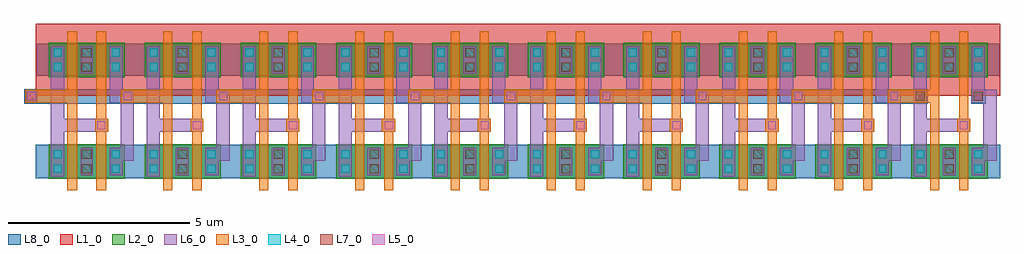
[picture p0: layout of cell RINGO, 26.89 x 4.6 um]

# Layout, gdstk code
import gdstk
lib = gdstk.Library(unit=1e-6, precision=1e-09)
def R(c, l, rs):  # rectangles x0, y0, x1, y1
    for r in rs: c.add(gdstk.rectangle(r[:2], r[2:], *l))
def P(c, l, *ps):  # polygons
    for p in ps: c.add(gdstk.Polygon(p, *l))
L1_0 = (1, 0)
L2_0 = (2, 0)
L3_0 = (3, 0)
L4_0 = (4, 0)
L5_0 = (5, 0)
L6_0 = (6, 0)
L7_0 = (7, 0)
L8_0 = (8, 0)

trans_var1 = lib.new_cell('TRANS$VAR1')
R(trans_var1, L2_0, [(-0.657,-0.475,0.654,0.475)])
R(trans_var1, L3_0, [(-0.125,-0.798,0.122,0.798)])
R(trans_var1, L4_0, [(-0.505,-0.304,-0.296,-0.095), (0.293,-0.304,0.502,-0.095), (-0.505,0.095,-0.296,0.304), (0.293,0.095,0.502,0.304)])
R(trans_var1, L6_0, [(-0.581,-0.38,-0.22,0.38), (0.217,-0.38,0.578,0.38)])

trans_var19 = lib.new_cell('TRANS$VAR19')
R(trans_var19, L2_0, [(-0.655,-0.475,0.656,0.475)])
R(trans_var19, L3_0, [(-0.123,-0.798,0.124,0.798)])
R(trans_var19, L4_0, [(-0.503,-0.304,-0.294,-0.095), (0.295,-0.304,0.504,-0.095), (-0.503,0.095,-0.294,0.304), (0.295,0.095,0.504,0.304)])
R(trans_var19, L6_0, [(-0.579,-0.38,-0.218,0.38), (0.219,-0.38,0.58,0.38)])

trans_var21 = lib.new_cell('TRANS$VAR21')
R(trans_var21, L2_0, [(-0.657,-0.468,0.654,0.482)])
R(trans_var21, L3_0, [(-0.125,-0.791,0.122,0.805)])
R(trans_var21, L4_0, [(-0.505,-0.316,-0.296,-0.088), (0.293,-0.316,0.502,-0.088), (-0.505,0.083,-0.296,0.311), (0.293,0.083,0.502,0.311)])
R(trans_var21, L6_0, [(-0.581,-0.373,-0.22,0.387), (0.217,-0.373,0.578,0.387)])

trans_var39 = lib.new_cell('TRANS$VAR39')
R(trans_var39, L2_0, [(-0.655,-0.482,0.656,0.468)])
R(trans_var39, L3_0, [(-0.123,-0.805,0.124,0.791)])
R(trans_var39, L4_0, [(-0.503,-0.311,-0.294,-0.083), (0.295,-0.311,0.504,-0.083), (-0.503,0.088,-0.294,0.316), (0.295,0.088,0.504,0.316)])
R(trans_var39, L6_0, [(-0.579,-0.387,-0.218,0.373), (0.219,-0.387,0.58,0.373)])

inv2_1 = lib.new_cell('INV2$1')
R(inv2_1, L1_0, [(-1.397,1.805,1.396,3.8)])
R(inv2_1, L3_0, [(-0.523,-0.247,-0.276,2.242), (0.275,-0.247,0.522,2.242), (0.218,0.817,0.579,1.178), (-1.701,1.615,-0.409,1.976)])
R(inv2_1, L5_0, [(0.294,0.893,0.503,1.102), (-1.625,1.691,-1.416,1.919)])
R(inv2_1, L6_0, [(-0.979,-0.418,-0.618,2.413), (-0.808,0.817,0.579,1.178)])
P(inv2_1, L6_0, [(0.807,0.019),(0.807,0.38),(0.94,0.38),(0.94,1.615),(0.617,1.615),(0.617,2.413),(0.978,2.413),(0.978,1.976),(1.301,1.976),(1.301,0.019)])
R(inv2_1, L7_0, [(-0.124,-0.323,0.123,-0.076), (-0.124,0.076,0.123,0.323), (-0.124,2.47,0.123,2.717), (-0.124,2.869,0.123,3.116)])
R(inv2_1, L8_0, [(-1.397,-0.456,1.396,0.456), (-1.397,2.356,1.396,3.249)])
inv2_1.add(gdstk.Reference(trans_var1, (0.4,0), x_reflection=True))
inv2_1.add(gdstk.Reference(trans_var19, (-0.4,0)))
inv2_1.add(gdstk.Reference(trans_var21, (0.4,2.8), x_reflection=True))
inv2_1.add(gdstk.Reference(trans_var39, (-0.4,2.8)))

trans_1 = lib.new_cell('TRANS$1')
R(trans_1, L2_0, [(-0.656,-0.475,0.655,0.475)])
R(trans_1, L3_0, [(-0.124,-0.798,0.123,0.798)])
R(trans_1, L4_0, [(-0.504,-0.304,-0.295,-0.095), (0.294,-0.304,0.503,-0.095), (-0.504,0.095,-0.295,0.304), (0.294,0.095,0.503,0.304)])
R(trans_1, L6_0, [(-0.58,-0.38,-0.219,0.38), (0.218,-0.38,0.579,0.38)])

trans_var3 = lib.new_cell('TRANS$VAR3')
R(trans_var3, L2_0, [(-0.658,-0.475,0.653,0.475)])
R(trans_var3, L3_0, [(-0.126,-0.798,0.121,0.798)])
R(trans_var3, L4_0, [(-0.506,-0.304,-0.297,-0.095), (0.292,-0.304,0.501,-0.095), (-0.506,0.095,-0.297,0.304), (0.292,0.095,0.501,0.304)])
R(trans_var3, L6_0, [(-0.582,-0.38,-0.221,0.38), (0.216,-0.38,0.577,0.38)])

trans_var20 = lib.new_cell('TRANS$VAR20')
R(trans_var20, L2_0, [(-0.656,-0.482,0.655,0.468)])
R(trans_var20, L3_0, [(-0.124,-0.805,0.123,0.791)])
R(trans_var20, L4_0, [(-0.504,-0.311,-0.295,-0.083), (0.294,-0.311,0.503,-0.083), (-0.504,0.088,-0.295,0.316), (0.294,0.088,0.503,0.316)])
R(trans_var20, L6_0, [(-0.58,-0.387,-0.219,0.373), (0.218,-0.387,0.579,0.373)])

trans_var23 = lib.new_cell('TRANS$VAR23')
R(trans_var23, L2_0, [(-0.658,-0.468,0.653,0.482)])
R(trans_var23, L3_0, [(-0.126,-0.791,0.121,0.805)])
R(trans_var23, L4_0, [(-0.506,-0.316,-0.297,-0.088), (0.292,-0.316,0.501,-0.088), (-0.506,0.083,-0.297,0.311), (0.292,0.083,0.501,0.311)])
R(trans_var23, L6_0, [(-0.582,-0.373,-0.221,0.387), (0.216,-0.373,0.577,0.387)])

inv2_var1 = lib.new_cell('INV2$VAR1')
R(inv2_var1, L1_0, [(-1.398,1.805,1.395,3.8)])
R(inv2_var1, L3_0, [(-0.524,-0.247,-0.277,2.242), (0.274,-0.247,0.521,2.242), (0.217,0.817,0.578,1.178), (-1.702,1.615,-0.391,1.976)])
R(inv2_var1, L5_0, [(0.293,0.893,0.502,1.102), (-1.626,1.691,-1.417,1.919)])
R(inv2_var1, L6_0, [(-0.98,-0.418,-0.619,2.413), (-0.809,0.817,0.578,1.178)])
P(inv2_var1, L6_0, [(0.806,0.019),(0.806,0.38),(0.939,0.38),(0.939,1.615),(0.616,1.615),(0.616,2.413),(0.977,2.413),(0.977,1.976),(1.3,1.976),(1.3,0.019)])
R(inv2_var1, L7_0, [(-0.125,-0.323,0.122,-0.076), (-0.125,0.076,0.122,0.323), (-0.125,2.47,0.122,2.717), (-0.125,2.869,0.122,3.116)])
R(inv2_var1, L8_0, [(-1.398,-0.456,1.395,0.456), (-1.398,2.356,1.395,3.249)])
inv2_var1.add(gdstk.Reference(trans_1, (-0.4,0)))
inv2_var1.add(gdstk.Reference(trans_var3, (0.4,0), x_reflection=True))
inv2_var1.add(gdstk.Reference(trans_var20, (-0.4,2.8)))
inv2_var1.add(gdstk.Reference(trans_var23, (0.4,2.8), x_reflection=True))

trans_var2 = lib.new_cell('TRANS$VAR2')
R(trans_var2, L2_0, [(-0.657,-0.475,0.654,0.475)])
R(trans_var2, L3_0, [(-0.125,-0.798,0.122,0.798)])
R(trans_var2, L4_0, [(-0.505,-0.304,-0.296,-0.095), (0.293,-0.304,0.502,-0.095), (-0.505,0.095,-0.296,0.304), (0.293,0.095,0.502,0.304)])
R(trans_var2, L6_0, [(-0.581,-0.38,-0.22,0.38), (0.217,-0.38,0.578,0.38)])

trans_var5 = lib.new_cell('TRANS$VAR5')
R(trans_var5, L2_0, [(-0.659,-0.475,0.652,0.475)])
R(trans_var5, L3_0, [(-0.127,-0.798,0.12,0.798)])
R(trans_var5, L4_0, [(-0.507,-0.304,-0.298,-0.095), (0.291,-0.304,0.519,-0.095), (-0.507,0.095,-0.298,0.304), (0.291,0.095,0.519,0.304)])
R(trans_var5, L6_0, [(-0.583,-0.38,-0.222,0.38), (0.215,-0.38,0.576,0.38)])

trans_var22 = lib.new_cell('TRANS$VAR22')
R(trans_var22, L2_0, [(-0.657,-0.482,0.654,0.468)])
R(trans_var22, L3_0, [(-0.125,-0.805,0.122,0.791)])
R(trans_var22, L4_0, [(-0.505,-0.311,-0.296,-0.083), (0.293,-0.311,0.502,-0.083), (-0.505,0.088,-0.296,0.316), (0.293,0.088,0.502,0.316)])
R(trans_var22, L6_0, [(-0.581,-0.387,-0.22,0.373), (0.217,-0.387,0.578,0.373)])

trans_var25 = lib.new_cell('TRANS$VAR25')
R(trans_var25, L2_0, [(-0.659,-0.468,0.652,0.482)])
R(trans_var25, L3_0, [(-0.127,-0.791,0.12,0.805)])
R(trans_var25, L4_0, [(-0.507,-0.316,-0.298,-0.088), (0.291,-0.316,0.519,-0.088), (-0.507,0.083,-0.298,0.311), (0.291,0.083,0.519,0.311)])
R(trans_var25, L6_0, [(-0.583,-0.373,-0.222,0.387), (0.215,-0.373,0.576,0.387)])

inv2_var2 = lib.new_cell('INV2$VAR2')
R(inv2_var2, L1_0, [(-1.399,1.805,1.394,3.8)])
R(inv2_var2, L3_0, [(-0.525,-0.247,-0.278,2.242), (0.273,-0.247,0.52,2.242), (0.216,0.817,0.577,1.178), (-1.703,1.615,-0.392,1.976)])
R(inv2_var2, L5_0, [(0.292,0.893,0.501,1.102), (-1.627,1.691,-1.418,1.919)])
R(inv2_var2, L6_0, [(-0.981,-0.418,-0.62,2.413), (-0.791,0.817,0.577,1.178)])
P(inv2_var2, L6_0, [(0.805,0.019),(0.805,0.38),(0.938,0.38),(0.938,1.615),(0.615,1.615),(0.615,2.413),(0.976,2.413),(0.976,1.976),(1.299,1.976),(1.299,0.019)])
R(inv2_var2, L7_0, [(-0.126,-0.323,0.121,-0.076), (-0.126,0.076,0.121,0.323), (-0.126,2.47,0.121,2.717), (-0.126,2.869,0.121,3.116)])
R(inv2_var2, L8_0, [(-1.399,-0.456,1.394,0.456), (-1.399,2.356,1.394,3.249)])
inv2_var2.add(gdstk.Reference(trans_var2, (-0.4,0)))
inv2_var2.add(gdstk.Reference(trans_var5, (0.4,0), x_reflection=True))
inv2_var2.add(gdstk.Reference(trans_var22, (-0.4,2.8)))
inv2_var2.add(gdstk.Reference(trans_var25, (0.4,2.8), x_reflection=True))

trans_var4 = lib.new_cell('TRANS$VAR4')
R(trans_var4, L2_0, [(-0.658,-0.475,0.653,0.475)])
R(trans_var4, L3_0, [(-0.126,-0.798,0.121,0.798)])
R(trans_var4, L4_0, [(-0.506,-0.304,-0.297,-0.095), (0.292,-0.304,0.501,-0.095), (-0.506,0.095,-0.297,0.304), (0.292,0.095,0.501,0.304)])
R(trans_var4, L6_0, [(-0.582,-0.38,-0.221,0.38), (0.216,-0.38,0.577,0.38)])

trans_var7 = lib.new_cell('TRANS$VAR7')
R(trans_var7, L2_0, [(-0.641,-0.475,0.651,0.475)])
R(trans_var7, L3_0, [(-0.128,-0.798,0.119,0.798)])
R(trans_var7, L4_0, [(-0.508,-0.304,-0.299,-0.095), (0.29,-0.304,0.518,-0.095), (-0.508,0.095,-0.299,0.304), (0.29,0.095,0.518,0.304)])
R(trans_var7, L6_0, [(-0.584,-0.38,-0.223,0.38), (0.214,-0.38,0.575,0.38)])

trans_var24 = lib.new_cell('TRANS$VAR24')
R(trans_var24, L2_0, [(-0.658,-0.482,0.653,0.468)])
R(trans_var24, L3_0, [(-0.126,-0.805,0.121,0.791)])
R(trans_var24, L4_0, [(-0.506,-0.311,-0.297,-0.083), (0.292,-0.311,0.501,-0.083), (-0.506,0.088,-0.297,0.316), (0.292,0.088,0.501,0.316)])
R(trans_var24, L6_0, [(-0.582,-0.387,-0.221,0.373), (0.216,-0.387,0.577,0.373)])

trans_var27 = lib.new_cell('TRANS$VAR27')
R(trans_var27, L2_0, [(-0.641,-0.468,0.651,0.482)])
R(trans_var27, L3_0, [(-0.128,-0.791,0.119,0.805)])
R(trans_var27, L4_0, [(-0.508,-0.316,-0.299,-0.088), (0.29,-0.316,0.518,-0.088), (-0.508,0.083,-0.299,0.311), (0.29,0.083,0.518,0.311)])
R(trans_var27, L6_0, [(-0.584,-0.373,-0.223,0.387), (0.214,-0.373,0.575,0.387)])

inv2_var3 = lib.new_cell('INV2$VAR3')
R(inv2_var3, L1_0, [(-1.4,1.805,1.393,3.8)])
R(inv2_var3, L3_0, [(-0.526,-0.247,-0.279,2.242), (0.272,-0.247,0.519,2.242), (0.215,0.817,0.576,1.178), (-1.704,1.615,-0.393,1.976)])
R(inv2_var3, L5_0, [(0.291,0.893,0.519,1.102), (-1.628,1.691,-1.419,1.919)])
R(inv2_var3, L6_0, [(-0.982,-0.418,-0.621,2.413), (-0.792,0.817,0.576,1.178)])
P(inv2_var3, L6_0, [(0.804,0.019),(0.804,0.38),(0.937,0.38),(0.937,1.615),(0.614,1.615),(0.614,2.413),(0.975,2.413),(0.975,1.976),(1.298,1.976),(1.298,0.019)])
R(inv2_var3, L7_0, [(-0.127,-0.323,0.12,-0.076), (-0.127,0.076,0.12,0.323), (-0.127,2.47,0.12,2.717), (-0.127,2.869,0.12,3.116)])
R(inv2_var3, L8_0, [(-1.4,-0.456,1.393,0.456), (-1.4,2.356,1.393,3.249)])
inv2_var3.add(gdstk.Reference(trans_var4, (-0.4,0)))
inv2_var3.add(gdstk.Reference(trans_var7, (0.4,0), x_reflection=True))
inv2_var3.add(gdstk.Reference(trans_var24, (-0.4,2.8)))
inv2_var3.add(gdstk.Reference(trans_var27, (0.4,2.8), x_reflection=True))

trans_var6 = lib.new_cell('TRANS$VAR6')
R(trans_var6, L2_0, [(-0.659,-0.475,0.652,0.475)])
R(trans_var6, L3_0, [(-0.127,-0.798,0.12,0.798)])
R(trans_var6, L4_0, [(-0.507,-0.304,-0.298,-0.095), (0.291,-0.304,0.519,-0.095), (-0.507,0.095,-0.298,0.304), (0.291,0.095,0.519,0.304)])
R(trans_var6, L6_0, [(-0.583,-0.38,-0.222,0.38), (0.215,-0.38,0.576,0.38)])

trans_var9 = lib.new_cell('TRANS$VAR9')
R(trans_var9, L2_0, [(-0.642,-0.475,0.65,0.475)])
R(trans_var9, L3_0, [(-0.129,-0.798,0.118,0.798)])
R(trans_var9, L4_0, [(-0.509,-0.304,-0.281,-0.095), (0.289,-0.304,0.517,-0.095), (-0.509,0.095,-0.281,0.304), (0.289,0.095,0.517,0.304)])
R(trans_var9, L6_0, [(-0.585,-0.38,-0.224,0.38), (0.213,-0.38,0.574,0.38)])

trans_var26 = lib.new_cell('TRANS$VAR26')
R(trans_var26, L2_0, [(-0.659,-0.482,0.652,0.468)])
R(trans_var26, L3_0, [(-0.127,-0.805,0.12,0.791)])
R(trans_var26, L4_0, [(-0.507,-0.311,-0.298,-0.083), (0.291,-0.311,0.519,-0.083), (-0.507,0.088,-0.298,0.316), (0.291,0.088,0.519,0.316)])
R(trans_var26, L6_0, [(-0.583,-0.387,-0.222,0.373), (0.215,-0.387,0.576,0.373)])

trans_var29 = lib.new_cell('TRANS$VAR29')
R(trans_var29, L2_0, [(-0.642,-0.468,0.65,0.482)])
R(trans_var29, L3_0, [(-0.129,-0.791,0.118,0.805)])
R(trans_var29, L4_0, [(-0.509,-0.316,-0.281,-0.088), (0.289,-0.316,0.517,-0.088), (-0.509,0.083,-0.281,0.311), (0.289,0.083,0.517,0.311)])
R(trans_var29, L6_0, [(-0.585,-0.373,-0.224,0.387), (0.213,-0.373,0.574,0.387)])

inv2_var4 = lib.new_cell('INV2$VAR4')
R(inv2_var4, L1_0, [(-1.401,1.805,1.392,3.8)])
R(inv2_var4, L3_0, [(-0.527,-0.247,-0.28,2.242), (0.271,-0.247,0.518,2.242), (0.214,0.817,0.575,1.178), (-1.705,1.615,-0.394,1.976)])
R(inv2_var4, L5_0, [(0.29,0.893,0.518,1.102), (-1.629,1.691,-1.401,1.919)])
R(inv2_var4, L6_0, [(-0.983,-0.418,-0.622,2.413), (-0.793,0.817,0.575,1.178)])
P(inv2_var4, L6_0, [(0.803,0.019),(0.803,0.38),(0.936,0.38),(0.936,1.615),(0.613,1.615),(0.613,2.413),(0.974,2.413),(0.974,1.976),(1.297,1.976),(1.297,0.019)])
R(inv2_var4, L7_0, [(-0.128,-0.323,0.119,-0.076), (-0.128,0.076,0.119,0.323), (-0.128,2.47,0.119,2.717), (-0.128,2.869,0.119,3.116)])
R(inv2_var4, L8_0, [(-1.401,-0.456,1.392,0.456), (-1.401,2.356,1.392,3.249)])
inv2_var4.add(gdstk.Reference(trans_var6, (-0.4,0)))
inv2_var4.add(gdstk.Reference(trans_var9, (0.4,0), x_reflection=True))
inv2_var4.add(gdstk.Reference(trans_var26, (-0.4,2.8)))
inv2_var4.add(gdstk.Reference(trans_var29, (0.4,2.8), x_reflection=True))

trans_var8 = lib.new_cell('TRANS$VAR8')
R(trans_var8, L2_0, [(-0.641,-0.475,0.651,0.475)])
R(trans_var8, L3_0, [(-0.128,-0.798,0.119,0.798)])
R(trans_var8, L4_0, [(-0.508,-0.304,-0.299,-0.095), (0.29,-0.304,0.518,-0.095), (-0.508,0.095,-0.299,0.304), (0.29,0.095,0.518,0.304)])
R(trans_var8, L6_0, [(-0.584,-0.38,-0.223,0.38), (0.214,-0.38,0.575,0.38)])

trans_var11 = lib.new_cell('TRANS$VAR11')
R(trans_var11, L2_0, [(-0.643,-0.475,0.649,0.475)])
R(trans_var11, L3_0, [(-0.13,-0.798,0.117,0.798)])
R(trans_var11, L4_0, [(-0.51,-0.304,-0.282,-0.095), (0.288,-0.304,0.516,-0.095), (-0.51,0.095,-0.282,0.304), (0.288,0.095,0.516,0.304)])
R(trans_var11, L6_0, [(-0.586,-0.38,-0.225,0.38), (0.212,-0.38,0.573,0.38)])

trans_var28 = lib.new_cell('TRANS$VAR28')
R(trans_var28, L2_0, [(-0.641,-0.482,0.651,0.468)])
R(trans_var28, L3_0, [(-0.128,-0.805,0.119,0.791)])
R(trans_var28, L4_0, [(-0.508,-0.311,-0.299,-0.083), (0.29,-0.311,0.518,-0.083), (-0.508,0.088,-0.299,0.316), (0.29,0.088,0.518,0.316)])
R(trans_var28, L6_0, [(-0.584,-0.387,-0.223,0.373), (0.214,-0.387,0.575,0.373)])

trans_var31 = lib.new_cell('TRANS$VAR31')
R(trans_var31, L2_0, [(-0.643,-0.468,0.649,0.482)])
R(trans_var31, L3_0, [(-0.13,-0.791,0.117,0.805)])
R(trans_var31, L4_0, [(-0.51,-0.316,-0.282,-0.088), (0.288,-0.316,0.516,-0.088), (-0.51,0.083,-0.282,0.311), (0.288,0.083,0.516,0.311)])
R(trans_var31, L6_0, [(-0.586,-0.373,-0.225,0.387), (0.212,-0.373,0.573,0.387)])

inv2_var5 = lib.new_cell('INV2$VAR5')
R(inv2_var5, L1_0, [(-1.402,1.805,1.391,3.8)])
R(inv2_var5, L3_0, [(-0.528,-0.247,-0.281,2.242), (0.27,-0.247,0.517,2.242), (0.213,0.817,0.574,1.178), (-1.706,1.615,-0.395,1.976)])
R(inv2_var5, L5_0, [(0.289,0.893,0.517,1.102), (-1.63,1.691,-1.402,1.919)])
R(inv2_var5, L6_0, [(-0.984,-0.418,-0.623,2.413), (-0.794,0.817,0.574,1.178)])
P(inv2_var5, L6_0, [(0.802,0.019),(0.802,0.38),(0.935,0.38),(0.935,1.615),(0.612,1.615),(0.612,2.413),(0.973,2.413),(0.973,1.976),(1.296,1.976),(1.296,0.019)])
R(inv2_var5, L7_0, [(-0.129,-0.323,0.118,-0.076), (-0.129,0.076,0.118,0.323), (-0.129,2.47,0.118,2.717), (-0.129,2.869,0.118,3.116)])
R(inv2_var5, L8_0, [(-1.402,-0.456,1.391,0.456), (-1.402,2.356,1.391,3.249)])
inv2_var5.add(gdstk.Reference(trans_var8, (-0.4,0)))
inv2_var5.add(gdstk.Reference(trans_var11, (0.4,0), x_reflection=True))
inv2_var5.add(gdstk.Reference(trans_var28, (-0.4,2.8)))
inv2_var5.add(gdstk.Reference(trans_var31, (0.4,2.8), x_reflection=True))

trans_var10 = lib.new_cell('TRANS$VAR10')
R(trans_var10, L2_0, [(-0.642,-0.475,0.65,0.475)])
R(trans_var10, L3_0, [(-0.129,-0.798,0.118,0.798)])
R(trans_var10, L4_0, [(-0.509,-0.304,-0.281,-0.095), (0.289,-0.304,0.517,-0.095), (-0.509,0.095,-0.281,0.304), (0.289,0.095,0.517,0.304)])
R(trans_var10, L6_0, [(-0.585,-0.38,-0.224,0.38), (0.213,-0.38,0.574,0.38)])

trans_var13 = lib.new_cell('TRANS$VAR13')
R(trans_var13, L2_0, [(-0.644,-0.475,0.648,0.475)])
R(trans_var13, L3_0, [(-0.131,-0.798,0.116,0.798)])
R(trans_var13, L4_0, [(-0.511,-0.304,-0.283,-0.095), (0.287,-0.304,0.515,-0.095), (-0.511,0.095,-0.283,0.304), (0.287,0.095,0.515,0.304)])
R(trans_var13, L6_0, [(-0.587,-0.38,-0.226,0.38), (0.211,-0.38,0.572,0.38)])

trans_var30 = lib.new_cell('TRANS$VAR30')
R(trans_var30, L2_0, [(-0.642,-0.482,0.65,0.468)])
R(trans_var30, L3_0, [(-0.129,-0.805,0.118,0.791)])
R(trans_var30, L4_0, [(-0.509,-0.311,-0.281,-0.083), (0.289,-0.311,0.517,-0.083), (-0.509,0.088,-0.281,0.316), (0.289,0.088,0.517,0.316)])
R(trans_var30, L6_0, [(-0.585,-0.387,-0.224,0.373), (0.213,-0.387,0.574,0.373)])

trans_var33 = lib.new_cell('TRANS$VAR33')
R(trans_var33, L2_0, [(-0.644,-0.468,0.648,0.482)])
R(trans_var33, L3_0, [(-0.131,-0.791,0.116,0.805)])
R(trans_var33, L4_0, [(-0.511,-0.316,-0.283,-0.088), (0.287,-0.316,0.515,-0.088), (-0.511,0.083,-0.283,0.311), (0.287,0.083,0.515,0.311)])
R(trans_var33, L6_0, [(-0.587,-0.373,-0.226,0.387), (0.211,-0.373,0.572,0.387)])

inv2_var6 = lib.new_cell('INV2$VAR6')
R(inv2_var6, L1_0, [(-1.403,1.805,1.409,3.8)])
R(inv2_var6, L3_0, [(-0.529,-0.247,-0.282,2.242), (0.269,-0.247,0.516,2.242), (0.212,0.817,0.573,1.178), (-1.707,1.615,-0.396,1.976)])
R(inv2_var6, L5_0, [(0.288,0.893,0.516,1.102), (-1.631,1.691,-1.403,1.919)])
R(inv2_var6, L6_0, [(-0.985,-0.418,-0.624,2.413), (-0.795,0.817,0.573,1.178)])
P(inv2_var6, L6_0, [(0.801,0.019),(0.801,0.38),(0.934,0.38),(0.934,1.615),(0.611,1.615),(0.611,2.413),(0.972,2.413),(0.972,1.976),(1.295,1.976),(1.295,0.019)])
R(inv2_var6, L7_0, [(-0.13,-0.323,0.117,-0.076), (-0.13,0.076,0.117,0.323), (-0.13,2.47,0.117,2.717), (-0.13,2.869,0.117,3.116)])
R(inv2_var6, L8_0, [(-1.403,-0.456,1.409,0.456), (-1.403,2.356,1.409,3.249)])
inv2_var6.add(gdstk.Reference(trans_var10, (-0.4,0)))
inv2_var6.add(gdstk.Reference(trans_var13, (0.4,0), x_reflection=True))
inv2_var6.add(gdstk.Reference(trans_var30, (-0.4,2.8)))
inv2_var6.add(gdstk.Reference(trans_var33, (0.4,2.8), x_reflection=True))

trans_var12 = lib.new_cell('TRANS$VAR12')
R(trans_var12, L2_0, [(-0.643,-0.475,0.649,0.475)])
R(trans_var12, L3_0, [(-0.13,-0.798,0.117,0.798)])
R(trans_var12, L4_0, [(-0.51,-0.304,-0.282,-0.095), (0.288,-0.304,0.516,-0.095), (-0.51,0.095,-0.282,0.304), (0.288,0.095,0.516,0.304)])
R(trans_var12, L6_0, [(-0.586,-0.38,-0.225,0.38), (0.212,-0.38,0.573,0.38)])

trans_var15 = lib.new_cell('TRANS$VAR15')
R(trans_var15, L2_0, [(-0.645,-0.475,0.647,0.475)])
R(trans_var15, L3_0, [(-0.132,-0.798,0.134,0.798)])
R(trans_var15, L4_0, [(-0.512,-0.304,-0.284,-0.095), (0.286,-0.304,0.514,-0.095), (-0.512,0.095,-0.284,0.304), (0.286,0.095,0.514,0.304)])
R(trans_var15, L6_0, [(-0.588,-0.38,-0.227,0.38), (0.229,-0.38,0.571,0.38)])

trans_var32 = lib.new_cell('TRANS$VAR32')
R(trans_var32, L2_0, [(-0.643,-0.482,0.649,0.468)])
R(trans_var32, L3_0, [(-0.13,-0.805,0.117,0.791)])
R(trans_var32, L4_0, [(-0.51,-0.311,-0.282,-0.083), (0.288,-0.311,0.516,-0.083), (-0.51,0.088,-0.282,0.316), (0.288,0.088,0.516,0.316)])
R(trans_var32, L6_0, [(-0.586,-0.387,-0.225,0.373), (0.212,-0.387,0.573,0.373)])

trans_var35 = lib.new_cell('TRANS$VAR35')
R(trans_var35, L2_0, [(-0.645,-0.468,0.647,0.482)])
R(trans_var35, L3_0, [(-0.132,-0.791,0.134,0.805)])
R(trans_var35, L4_0, [(-0.512,-0.316,-0.284,-0.088), (0.286,-0.316,0.514,-0.088), (-0.512,0.083,-0.284,0.311), (0.286,0.083,0.514,0.311)])
R(trans_var35, L6_0, [(-0.588,-0.373,-0.227,0.387), (0.229,-0.373,0.571,0.387)])

inv2_var7 = lib.new_cell('INV2$VAR7')
R(inv2_var7, L1_0, [(-1.404,1.805,1.408,3.8)])
R(inv2_var7, L3_0, [(-0.53,-0.247,-0.283,2.242), (0.268,-0.247,0.534,2.242), (0.211,0.817,0.572,1.178), (-1.708,1.615,-0.397,1.976)])
R(inv2_var7, L5_0, [(0.287,0.893,0.515,1.102), (-1.632,1.691,-1.404,1.919)])
R(inv2_var7, L6_0, [(-0.986,-0.418,-0.625,2.413), (-0.796,0.817,0.572,1.178)])
P(inv2_var7, L6_0, [(0.8,0.019),(0.8,0.38),(0.933,0.38),(0.933,1.615),(0.629,1.615),(0.629,2.413),(0.971,2.413),(0.971,1.976),(1.294,1.976),(1.294,0.019)])
R(inv2_var7, L7_0, [(-0.131,-0.323,0.116,-0.076), (-0.131,0.076,0.116,0.323), (-0.131,2.47,0.116,2.717), (-0.131,2.869,0.116,3.116)])
R(inv2_var7, L8_0, [(-1.404,-0.456,1.408,0.456), (-1.404,2.356,1.408,3.249)])
inv2_var7.add(gdstk.Reference(trans_var12, (-0.4,0)))
inv2_var7.add(gdstk.Reference(trans_var15, (0.4,0), x_reflection=True))
inv2_var7.add(gdstk.Reference(trans_var32, (-0.4,2.8)))
inv2_var7.add(gdstk.Reference(trans_var35, (0.4,2.8), x_reflection=True))

trans_var14 = lib.new_cell('TRANS$VAR14')
R(trans_var14, L2_0, [(-0.644,-0.475,0.648,0.475)])
R(trans_var14, L3_0, [(-0.131,-0.798,0.116,0.798)])
R(trans_var14, L4_0, [(-0.511,-0.304,-0.283,-0.095), (0.287,-0.304,0.515,-0.095), (-0.511,0.095,-0.283,0.304), (0.287,0.095,0.515,0.304)])
R(trans_var14, L6_0, [(-0.587,-0.38,-0.226,0.38), (0.211,-0.38,0.572,0.38)])

trans_var17 = lib.new_cell('TRANS$VAR17')
R(trans_var17, L2_0, [(-0.646,-0.475,0.646,0.475)])
R(trans_var17, L3_0, [(-0.133,-0.798,0.133,0.798)])
R(trans_var17, L4_0, [(-0.513,-0.304,-0.285,-0.095), (0.285,-0.304,0.513,-0.095), (-0.513,0.095,-0.285,0.304), (0.285,0.095,0.513,0.304)])
R(trans_var17, L6_0, [(-0.589,-0.38,-0.228,0.38), (0.228,-0.38,0.589,0.38)])

trans_var34 = lib.new_cell('TRANS$VAR34')
R(trans_var34, L2_0, [(-0.644,-0.482,0.648,0.468)])
R(trans_var34, L3_0, [(-0.131,-0.805,0.116,0.791)])
R(trans_var34, L4_0, [(-0.511,-0.311,-0.283,-0.083), (0.287,-0.311,0.515,-0.083), (-0.511,0.088,-0.283,0.316), (0.287,0.088,0.515,0.316)])
R(trans_var34, L6_0, [(-0.587,-0.387,-0.226,0.373), (0.211,-0.387,0.572,0.373)])

trans_var37 = lib.new_cell('TRANS$VAR37')
R(trans_var37, L2_0, [(-0.646,-0.468,0.646,0.482)])
R(trans_var37, L3_0, [(-0.133,-0.791,0.133,0.805)])
R(trans_var37, L4_0, [(-0.513,-0.316,-0.285,-0.088), (0.285,-0.316,0.513,-0.088), (-0.513,0.083,-0.285,0.311), (0.285,0.083,0.513,0.311)])
R(trans_var37, L6_0, [(-0.589,-0.373,-0.228,0.387), (0.228,-0.373,0.589,0.387)])

inv2_var8 = lib.new_cell('INV2$VAR8')
R(inv2_var8, L1_0, [(-1.405,1.805,1.407,3.8)])
R(inv2_var8, L3_0, [(-0.531,-0.247,-0.284,2.242), (0.267,-0.247,0.533,2.242), (0.229,0.817,0.571,1.178), (-1.709,1.615,-0.398,1.976)])
R(inv2_var8, L5_0, [(0.286,0.893,0.514,1.102), (-1.633,1.691,-1.405,1.919)])
R(inv2_var8, L6_0, [(-0.987,-0.418,-0.626,2.413), (-0.797,0.817,0.571,1.178)])
P(inv2_var8, L6_0, [(0.799,0.019),(0.799,0.38),(0.932,0.38),(0.932,1.615),(0.628,1.615),(0.628,2.413),(0.989,2.413),(0.989,1.976),(1.293,1.976),(1.293,0.019)])
R(inv2_var8, L7_0, [(-0.132,-0.323,0.134,-0.076), (-0.132,0.076,0.134,0.323), (-0.132,2.47,0.134,2.717), (-0.132,2.869,0.134,3.116)])
R(inv2_var8, L8_0, [(-1.405,-0.456,1.407,0.456), (-1.405,2.356,1.407,3.249)])
inv2_var8.add(gdstk.Reference(trans_var14, (-0.4,0)))
inv2_var8.add(gdstk.Reference(trans_var17, (0.4,0), x_reflection=True))
inv2_var8.add(gdstk.Reference(trans_var34, (-0.4,2.8)))
inv2_var8.add(gdstk.Reference(trans_var37, (0.4,2.8), x_reflection=True))

trans_var16 = lib.new_cell('TRANS$VAR16')
R(trans_var16, L2_0, [(-0.645,-0.475,0.647,0.475)])
R(trans_var16, L3_0, [(-0.132,-0.798,0.134,0.798)])
R(trans_var16, L4_0, [(-0.512,-0.304,-0.284,-0.095), (0.286,-0.304,0.514,-0.095), (-0.512,0.095,-0.284,0.304), (0.286,0.095,0.514,0.304)])
R(trans_var16, L6_0, [(-0.588,-0.38,-0.227,0.38), (0.229,-0.38,0.571,0.38)])

trans_var18 = lib.new_cell('TRANS$VAR18')
R(trans_var18, L2_0, [(-0.647,-0.475,0.645,0.475)])
R(trans_var18, L3_0, [(-0.134,-0.798,0.132,0.798)])
R(trans_var18, L4_0, [(-0.514,-0.304,-0.286,-0.095), (0.284,-0.304,0.512,-0.095), (-0.514,0.095,-0.286,0.304), (0.284,0.095,0.512,0.304)])
R(trans_var18, L6_0, [(-0.571,-0.38,-0.229,0.38), (0.227,-0.38,0.588,0.38)])

trans_var36 = lib.new_cell('TRANS$VAR36')
R(trans_var36, L2_0, [(-0.645,-0.482,0.647,0.468)])
R(trans_var36, L3_0, [(-0.132,-0.805,0.134,0.791)])
R(trans_var36, L4_0, [(-0.512,-0.311,-0.284,-0.083), (0.286,-0.311,0.514,-0.083), (-0.512,0.088,-0.284,0.316), (0.286,0.088,0.514,0.316)])
R(trans_var36, L6_0, [(-0.588,-0.387,-0.227,0.373), (0.229,-0.387,0.571,0.373)])

trans_var38 = lib.new_cell('TRANS$VAR38')
R(trans_var38, L2_0, [(-0.647,-0.468,0.645,0.482)])
R(trans_var38, L3_0, [(-0.134,-0.791,0.132,0.805)])
R(trans_var38, L4_0, [(-0.514,-0.316,-0.286,-0.088), (0.284,-0.316,0.512,-0.088), (-0.514,0.083,-0.286,0.311), (0.284,0.083,0.512,0.311)])
R(trans_var38, L6_0, [(-0.571,-0.373,-0.229,0.387), (0.227,-0.373,0.588,0.387)])

inv2_var9 = lib.new_cell('INV2$VAR9')
R(inv2_var9, L1_0, [(-1.406,1.805,1.406,3.8)])
R(inv2_var9, L3_0, [(-0.532,-0.247,-0.266,2.242), (0.266,-0.247,0.532,2.242), (0.228,0.817,0.589,1.178), (-1.691,1.615,-0.399,1.976)])
R(inv2_var9, L5_0, [(0.285,0.893,0.513,1.102), (-1.634,1.691,-1.406,1.919)])
R(inv2_var9, L6_0, [(-0.988,-0.418,-0.627,2.413), (-0.798,0.817,0.589,1.178)])
P(inv2_var9, L6_0, [(0.798,0.019),(0.798,0.38),(0.931,0.38),(0.931,1.615),(0.627,1.615),(0.627,2.413),(0.988,2.413),(0.988,1.976),(1.292,1.976),(1.292,0.019)])
R(inv2_var9, L7_0, [(-0.133,-0.323,0.133,-0.076), (-0.133,0.076,0.133,0.323), (-0.133,2.47,0.133,2.717), (-0.133,2.869,0.133,3.116)])
R(inv2_var9, L8_0, [(-1.406,-0.456,1.406,0.456), (-1.406,2.356,1.406,3.249)])
inv2_var9.add(gdstk.Reference(trans_var16, (-0.4,0)))
inv2_var9.add(gdstk.Reference(trans_var18, (0.4,0), x_reflection=True))
inv2_var9.add(gdstk.Reference(trans_var36, (-0.4,2.8)))
inv2_var9.add(gdstk.Reference(trans_var38, (0.4,2.8), x_reflection=True))

ringo = lib.new_cell('RINGO')
R(ringo, L6_0, [(-1.691,1.615,-1.349,1.976)])
R(ringo, L7_0, [(-1.653,1.672,-1.387,1.919), (22.838,1.672,23.085,1.919), (24.434,1.672,24.681,1.919)])
R(ringo, L8_0, [(-1.729,1.596,23.161,1.995), (24.358,1.596,24.757,1.995)])
ringo.add(gdstk.Reference(inv2_1, (23.76,0)))
ringo.add(gdstk.Reference(inv2_var1, (21.12,0)))
ringo.add(gdstk.Reference(inv2_var2, (18.48,0)))
ringo.add(gdstk.Reference(inv2_var3, (15.84,0)))
ringo.add(gdstk.Reference(inv2_var4, (13.2,0)))
ringo.add(gdstk.Reference(inv2_var5, (10.56,0)))
ringo.add(gdstk.Reference(inv2_var6, (7.92,0)))
ringo.add(gdstk.Reference(inv2_var7, (5.28,0)))
ringo.add(gdstk.Reference(inv2_var8, (2.64,0)))
ringo.add(gdstk.Reference(inv2_var9, (0,0)))

lib.write_gds('RINGO.gds')
